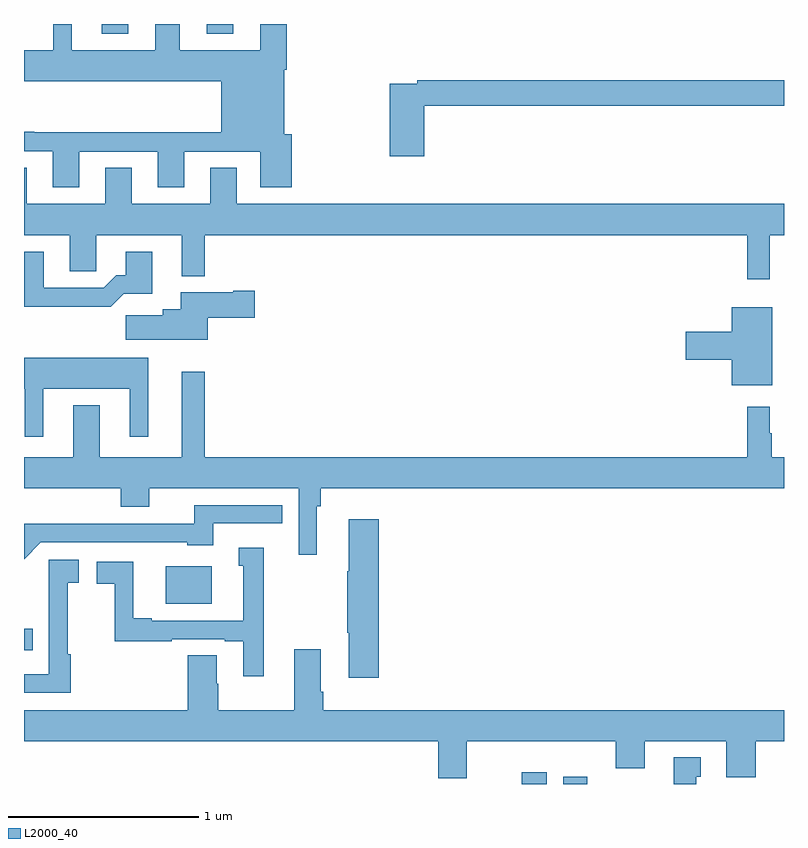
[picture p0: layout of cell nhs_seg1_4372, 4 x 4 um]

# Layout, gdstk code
import gdstk
lib = gdstk.Library(unit=1e-6, precision=1e-09)
def R(c, l, rs):  # rectangles x0, y0, x1, y1
    for r in rs: c.add(gdstk.rectangle(r[:2], r[2:], *l))
def P(c, l, *ps):  # polygons
    for p in ps: c.add(gdstk.Polygon(p, *l))
L2000_40 = (2000, 40)

nhs_seg1_4372 = lib.new_cell('nhs_seg1_4372')
R(nhs_seg1_4372, L2000_40, [(351.62,526.199,351.751,526.261), (351.839,526.199,351.964,526.237), (349,526.902,349.046,527.015), (349.745,527.147,349.987,527.344), (349.409,530.147,349.549,530.199), (349.961,530.147,350.101,530.199)])
P(nhs_seg1_4372, L2000_40, [(349.291,529.527),(349.703,529.527),(349.703,529.341),(349.843,529.341),(349.843,529.527),(350.243,529.527),(350.243,529.341),(350.408,529.341),(350.408,529.62),(350.371,529.62),(350.371,529.958),(350.384,529.958),(350.384,530.199),(350.243,530.199),(350.243,530.062),(349.819,530.062),(349.819,530.199),(349.691,530.199),(349.691,530.062),(349.252,530.062),(349.252,530.199),(349.154,530.199),(349.154,530.062),(349,530.062),(349,529.898),(350.039,529.898),(350.039,529.628),(349.055,529.628),(349.055,529.631),(349,529.631),(349,529.53),(349.151,529.53),(349.151,529.341),(349.291,529.341)],
  [(351.107,529.768),(353,529.768),(353,529.904),(351.07,529.904),(351.07,529.884),(350.924,529.884),(350.924,529.503),(351.107,529.503)],
  [(352.925,529.088),(353,529.088),(353,529.252),(350.119,529.252),(350.119,529.442),(349.979,529.442),(349.979,529.252),(349.567,529.252),(349.567,529.442),(349.427,529.442),(349.427,529.252),(349.015,529.252),(349.015,529.442),(349,529.442),(349,529.088),(349.241,529.088),(349.241,528.898),(349.38,528.898),(349.38,529.088),(349.829,529.088),(349.829,528.872),(349.951,528.872),(349.951,529.088),(352.807,529.088),(352.807,528.855),(352.925,528.855)],
  [(349.526,528.779),(349.675,528.779),(349.675,529),(349.535,529),(349.535,528.877),(349.486,528.877),(349.419,528.81),(349.105,528.81),(349.105,529),(349,529),(349,528.712),(349.201,528.712),(349.201,528.71),(349.457,528.71)],
  [(349.966,528.653),(350.215,528.653),(350.215,528.795),(350.102,528.795),(350.102,528.787),(349.826,528.787),(349.826,528.697),(349.73,528.697),(349.73,528.665),(349.536,528.665),(349.536,528.536),(349.966,528.536)],
  [(352.939,528.709),(352.724,528.709),(352.724,528.578),(352.482,528.578),(352.482,528.431),(352.724,528.431),(352.724,528.299),(352.939,528.299)],
  [(349.102,528.278),(349.556,528.278),(349.556,528.027),(349.654,528.027),(349.654,528.442),(349,528.442),(349,528.278),(349.004,528.278),(349.004,528.027),(349.102,528.027)],
  [(350.542,527.66),(350.561,527.66),(350.561,527.756),(353,527.756),(353,527.92),(352.936,527.92),(352.936,528.044),(352.924,528.044),(352.924,528.184),(352.807,528.184),(352.807,527.92),(349.951,527.92),(349.951,528.37),(349.829,528.37),(349.829,527.92),(349.399,527.92),(349.399,528.193),(349.259,528.193),(349.259,527.92),(349,527.92),(349,527.756),(349.508,527.756),(349.508,527.657),(349.66,527.657),(349.66,527.756),(350.445,527.756),(350.445,527.406),(350.542,527.406)],
  [(349.089,527.472),(349.86,527.472),(349.86,527.456),(349.996,527.456),(349.996,527.571),(350.36,527.571),(350.36,527.667),(349.897,527.667),(349.897,527.568),(349.424,527.568),(349.424,527.57),(349,527.57),(349,527.383)],
  [(350.867,527.593),(350.708,527.593),(350.708,527.318),(350.701,527.318),(350.701,526.996),(350.708,526.996),(350.708,526.758),(350.867,526.758)],
  [(350.263,527.443),(350.129,527.443),(350.129,527.349),(350.153,527.349),(350.153,527.058),(349.672,527.058),(349.672,527.071),(349.576,527.071),(349.576,527.37),(349.383,527.37),(349.383,527.254),(349.477,527.254),(349.477,526.95),(349.778,526.95),(349.778,526.962),(350.057,526.962),(350.057,526.95),(350.153,526.95),(350.153,526.767),(350.263,526.767)],
  [(349.247,526.883),(349.23,526.883),(349.23,527.259),(349.288,527.259),(349.288,527.38),(349.13,527.38),(349.13,527.104),(349.131,527.104),(349.131,526.776),(349,526.776),(349,526.68),(349.247,526.68)],
  [(351.331,526.424),(352.115,526.424),(352.115,526.283),(352.267,526.283),(352.267,526.424),(352.697,526.424),(352.697,526.235),(352.85,526.235),(352.85,526.424),(353,526.424),(353,526.588),(350.576,526.588),(350.576,526.684),(350.563,526.684),(350.563,526.909),(350.423,526.909),(350.423,526.588),(350.022,526.588),(350.022,526.727),(350.014,526.727),(350.014,526.877),(349.862,526.877),(349.862,526.588),(349,526.588),(349,526.424),(351.179,526.424),(351.179,526.23),(351.331,526.23)],
  [(352.537,526.236),(352.561,526.236),(352.561,526.339),(352.421,526.339),(352.421,526.199),(352.537,526.199)])

lib.write_gds('nhs_seg1_4372.gds')
